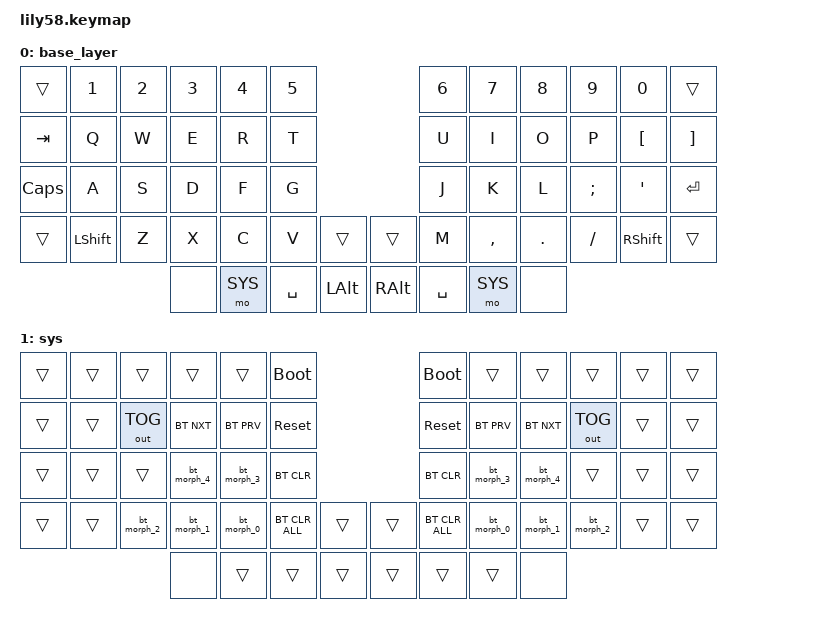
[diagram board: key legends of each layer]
/* -*- mode: c -*-
 * Copyright (c) 2024 antlers <antlers@illucid.net>
 *
 * This program is free software: you can redistribute it and/or modify
 * it under the terms of the GNU General Public License as published by
 * the Free Software Foundation, either version 3 of the License, or
 * (at your option) any later version.
 *
 * This program is distributed in the hope that it will be useful,
 * but WITHOUT ANY WARRANTY; without even the implied warranty of
 * MERCHANTABILITY or FITNESS FOR A PARTICULAR PURPOSE. See the
 * GNU General Public License for more details.
 *
 * You should have received a copy of the GNU General Public License
 * along with this program. If not, see <http://www.gnu.org/licenses/>.
 */

#include <behaviors.dtsi>
#include <dt-bindings/zmk/keys.h>
#include <dt-bindings/zmk/bt.h>
#include <dt-bindings/zmk/outputs.h>

#define XXX &none
#define ___ &trans

#define BASE 0
#define SYS 1

// from urob's config
#define SIMPLE_MORPH(NAME, MOD, BINDING1, BINDING2) \
  NAME: NAME { \
    compatible = "zmk,behavior-mod-morph"; \
    #binding-cells = <0>; \
    mods = <(MOD_L ## MOD|MOD_R ## MOD)>; \
    bindings = <BINDING1>, <BINDING2>; \
  };

/ {
    behaviors {
      SIMPLE_MORPH(bt_morph_0, SFT, &bt BT_SEL 0, &bt BT_DISC 0)
      SIMPLE_MORPH(bt_morph_1, SFT, &bt BT_SEL 1, &bt BT_DISC 1)
      SIMPLE_MORPH(bt_morph_2, SFT, &bt BT_SEL 2, &bt BT_DISC 2)
      SIMPLE_MORPH(bt_morph_3, SFT, &bt BT_SEL 3, &bt BT_DISC 3)
      SIMPLE_MORPH(bt_morph_4, SFT, &bt BT_SEL 4, &bt BT_DISC 4)
    };
    keymap {
      compatible = "zmk,keymap";
        base_layer {
            bindings = <
// ╭─────────────┬─────────────┬─────────────┬─────────────┬─────────────┬─────────────╮                           ╭─────────────┬─────────────┬─────────────┬─────────────┬─────────────┬─────────────╮
     ___           &kp N1        &kp N2        &kp N3        &kp N4        &kp N5                                    &kp N6        &kp N7        &kp N8        &kp N9        &kp N0        ___
// ├─────────────┼─────────────┼─────────────┼─────────────┼─────────────┼─────────────┤                           ├─────────────┼─────────────┼─────────────┼─────────────┼─────────────┼─────────────┤
     &kp TAB       &kp Q         &kp W         &kp E         &kp R         &kp T                                     &kp U         &kp I         &kp O         &kp P         &kp LBKT      &kp RBKT
// ├─────────────┼─────────────┼─────────────┼─────────────┼─────────────┼─────────────┤                           ├─────────────┼─────────────┼─────────────┼─────────────┼─────────────┼─────────────┤
     &kp CAPS      &kp A         &kp S         &kp D         &kp F         &kp G                                     &kp J         &kp K         &kp L         &kp SEMI      &kp SQT       &kp RET
// ├─────────────┼─────────────┼─────────────┼─────────────┼─────────────┼─────────────┼─────────────┬─────────────┼─────────────┼─────────────┼─────────────┼─────────────┼─────────────┼─────────────┤
     ___           &kp LSHIFT    &kp Z         &kp X         &kp C         &kp V         ___           ___           &kp M         &kp COMMA     &kp DOT       &kp SLASH     &kp RSHIFT    ___
// └─────────────┴─────────────┴─────────────┼─────────────┼─────────────┼─────────────┼─────────────┼─────────────┼─────────────┼─────────────┼─────────────┼─────────────┴─────────────┴─────────────┘
                                               XXX           &mo SYS       &kp SPC       &kp LALT      &kp RALT      &kp SPC       &mo SYS       XXX
//                                           ╰─────────────┴─────────────┴─────────────┴─────────────┴─────────────┴─────────────┴─────────────┴─────────────╯
            >;
        };

        sys {
            bindings = <
// ╭─────────────┬─────────────┬─────────────┬─────────────┬─────────────┬─────────────╮                           ╭─────────────┬─────────────┬─────────────┬─────────────┬─────────────┬─────────────╮
     ___           ___           ___           ___           ___           &bootloader                               &bootloader   ___           ___           ___           ___           ___
// ├─────────────┼─────────────┼─────────────┼─────────────┼─────────────┼─────────────┤                           ├─────────────┼─────────────┼─────────────┼─────────────┼─────────────┼─────────────┤
     ___           ___           &out OUT_TOG  &bt BT_NXT    &bt BT_PRV    &sys_reset                                &sys_reset    &bt BT_PRV    &bt BT_NXT    &out OUT_TOG  ___           ___
// ├─────────────┼─────────────┼─────────────┼─────────────┼─────────────┼─────────────┤                           ├─────────────┼─────────────┼─────────────┼─────────────┼─────────────┼─────────────┤
     ___           ___           ___           &bt_morph_4   &bt_morph_3   &bt BT_CLR                                &bt BT_CLR    &bt_morph_3   &bt_morph_4   ___           ___           ___
// ├─────────────┼─────────────┼─────────────┼─────────────┼─────────────┼─────────────┼─────────────┬─────────────┼─────────────┼─────────────┼─────────────┼─────────────┼─────────────┼─────────────┤
     ___           ___           &bt_morph_2   &bt_morph_1   &bt_morph_0   &bt BT_CLR_ALL ___          ___           &bt BT_CLR_ALL &bt_morph_0  &bt_morph_1   &bt_morph_2   ___           ___
// └─────────────┴─────────────┴─────────────┼─────────────┼─────────────┼─────────────┼─────────────┼─────────────┼─────────────┼─────────────┼─────────────┼─────────────┴─────────────┴─────────────┘
                                               XXX           ___           ___           ___           ___           ___           ___           XXX
//                                           ╰─────────────┴─────────────┴─────────────┴─────────────┴─────────────┴─────────────┴─────────────┴─────────────╯
            >;
        };
    };
};
